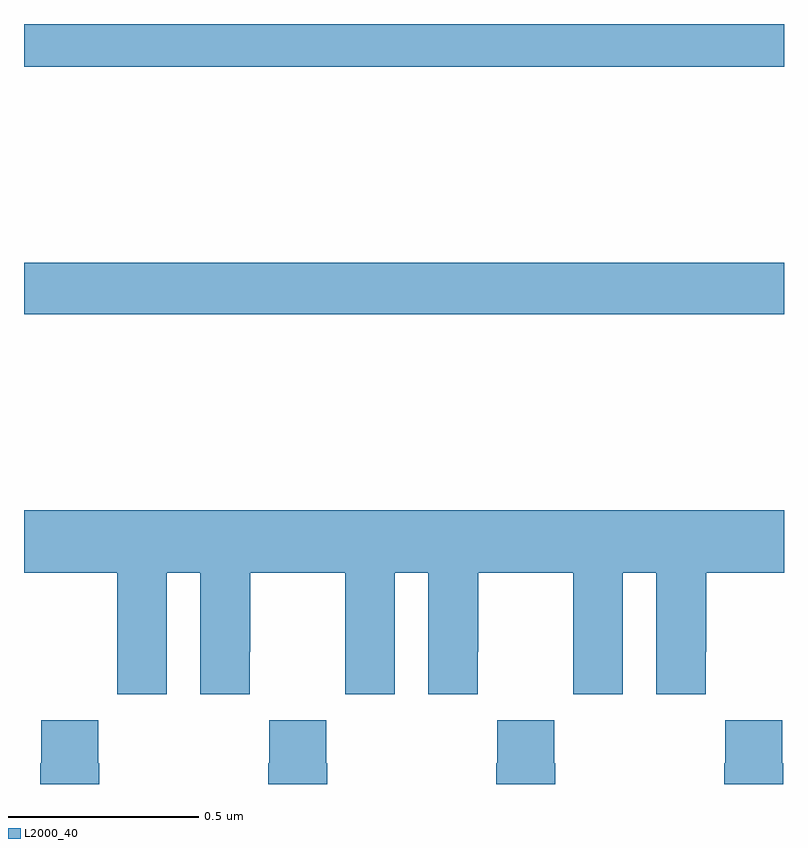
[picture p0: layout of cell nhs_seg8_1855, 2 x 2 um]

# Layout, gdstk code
import gdstk
lib = gdstk.Library(unit=1e-6, precision=1e-09)
def R(c, l, rs):  # rectangles x0, y0, x1, y1
    for r in rs: c.add(gdstk.rectangle(r[:2], r[2:], *l))
def P(c, l, *ps):  # polygons
    for p in ps: c.add(gdstk.Polygon(p, *l))
L2000_40 = (2000, 40)

nhs_seg8_1855 = lib.new_cell('nhs_seg8_1855')
R(nhs_seg8_1855, L2000_40, [(135,1161.136,137,1161.272), (135,1161.788,137,1161.9)])
P(nhs_seg8_1855, L2000_40, [(135.376,1160.456),(135.464,1160.456),(135.464,1160.136),(135.594,1160.136),(135.594,1160.248),(135.595,1160.248),(135.595,1160.456),(135.845,1160.456),(135.845,1160.248),(135.846,1160.248),(135.846,1160.136),(135.976,1160.136),(135.976,1160.456),(136.064,1160.456),(136.064,1160.136),(136.194,1160.136),(136.194,1160.248),(136.195,1160.248),(136.195,1160.456),(136.445,1160.456),(136.445,1160.248),(136.446,1160.248),(136.446,1160.136),(136.576,1160.136),(136.576,1160.456),(136.664,1160.456),(136.664,1160.136),(136.794,1160.136),(136.794,1160.248),(136.795,1160.248),(136.795,1160.456),(137,1160.456),(137,1160.62),(135,1160.62),(135,1160.456),(135.245,1160.456),(135.245,1160.248),(135.246,1160.248),(135.246,1160.136),(135.376,1160.136)],
  [(136.998,1159.955),(136.995,1159.955),(136.995,1160.068),(136.845,1160.068),(136.845,1159.955),(136.843,1159.955),(136.843,1159.9),(136.998,1159.9)],
  [(136.398,1159.955),(136.395,1159.955),(136.395,1160.068),(136.245,1160.068),(136.245,1159.955),(136.243,1159.955),(136.243,1159.9),(136.398,1159.9)],
  [(135.798,1159.955),(135.795,1159.955),(135.795,1160.068),(135.645,1160.068),(135.645,1159.955),(135.643,1159.955),(135.643,1159.9),(135.798,1159.9)],
  [(135.045,1160.068),(135.045,1159.955),(135.043,1159.955),(135.043,1159.9),(135.198,1159.9),(135.198,1159.955),(135.195,1159.955),(135.195,1160.068)])

lib.write_gds('nhs_seg8_1855.gds')
